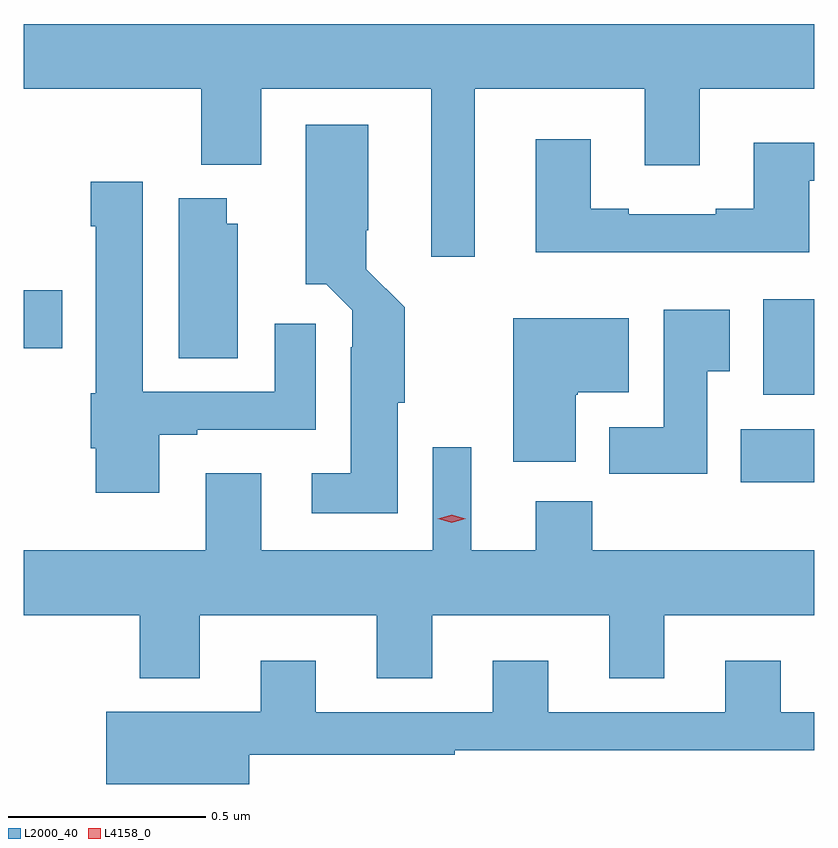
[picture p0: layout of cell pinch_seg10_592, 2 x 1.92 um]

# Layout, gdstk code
import gdstk
lib = gdstk.Library(unit=1e-6, precision=1e-09)
def R(c, l, rs):  # rectangles x0, y0, x1, y1
    for r in rs: c.add(gdstk.rectangle(r[:2], r[2:], *l))
def P(c, l, *ps):  # polygons
    for p in ps: c.add(gdstk.Polygon(p, *l))
L2000_40 = (2000, 40)
L4158_0 = (4158, 0)

pinch_seg10_592 = lib.new_cell('pinch_seg10_592')
R(pinch_seg10_592, L2000_40, [(339.722,1259.36,339.908,1259.494), (339.779,1259.582,339.908,1259.824), (337.908,1259.699,338.005,1259.846)])
P(pinch_seg10_592, L2000_40, [(339.049,1260.356),(339.479,1260.356),(339.479,1260.162),(339.619,1260.162),(339.619,1260.356),(339.908,1260.356),(339.908,1260.52),(337.908,1260.52),(337.908,1260.356),(338.357,1260.356),(338.357,1260.164),(338.509,1260.164),(338.509,1260.356),(338.939,1260.356),(338.939,1259.931),(339.049,1259.931)],
  [(338.854,1259.562),(338.872,1259.562),(338.872,1259.803),(338.775,1259.9),(338.775,1259.998),(338.779,1259.998),(338.779,1260.265),(338.621,1260.265),(338.621,1259.862),(338.673,1259.862),(338.739,1259.796),(338.739,1259.702),(338.735,1259.702),(338.735,1259.383),(338.637,1259.383),(338.637,1259.282),(338.854,1259.282)],
  [(339.895,1260.123),(339.908,1260.123),(339.908,1260.22),(339.755,1260.22),(339.755,1260.052),(339.659,1260.052),(339.659,1260.039),(339.439,1260.039),(339.439,1260.052),(339.343,1260.052),(339.343,1260.229),(339.203,1260.229),(339.203,1259.942),(339.895,1259.942)],
  [(338.251,1259.481),(338.347,1259.481),(338.347,1259.493),(338.647,1259.493),(338.647,1259.761),(338.543,1259.761),(338.543,1259.589),(338.209,1259.589),(338.209,1260.121),(338.078,1260.121),(338.078,1260.008),(338.09,1260.008),(338.09,1259.586),(338.078,1259.586),(338.078,1259.446),(338.09,1259.446),(338.09,1259.334),(338.251,1259.334)],
  [(338.449,1260.015),(338.422,1260.015),(338.422,1260.079),(338.3,1260.079),(338.3,1259.674),(338.449,1259.674)],
  [(339.637,1259.641),(339.694,1259.641),(339.694,1259.797),(339.527,1259.797),(339.527,1259.5),(339.389,1259.5),(339.389,1259.382),(339.637,1259.382)],
  [(339.304,1259.582),(339.31,1259.582),(339.31,1259.588),(339.439,1259.588),(339.439,1259.776),(339.146,1259.776),(339.146,1259.412),(339.304,1259.412)],
  [(338.941,1259.024),(339.389,1259.024),(339.389,1258.864),(339.529,1258.864),(339.529,1259.024),(339.908,1259.024),(339.908,1259.188),(339.347,1259.188),(339.347,1259.312),(339.203,1259.312),(339.203,1259.188),(339.04,1259.188),(339.04,1259.449),(338.943,1259.449),(338.943,1259.188),(338.509,1259.188),(338.509,1259.383),(338.369,1259.383),(338.369,1259.188),(337.908,1259.188),(337.908,1259.024),(338.201,1259.024),(338.201,1258.865),(338.353,1258.865),(338.353,1259.024),(338.801,1259.024),(338.801,1258.864),(338.941,1258.864)],
  [(338.479,1258.671),(338.999,1258.671),(338.999,1258.683),(339.908,1258.683),(339.908,1258.779),(339.823,1258.779),(339.823,1258.909),(339.683,1258.909),(339.683,1258.779),(339.235,1258.779),(339.235,1258.909),(339.095,1258.909),(339.095,1258.779),(338.647,1258.779),(338.647,1258.909),(338.507,1258.909),(338.507,1258.78),(338.117,1258.78),(338.117,1258.597),(338.479,1258.597)])
P(pinch_seg10_592, L4158_0, [(338.991,1259.258),(338.955,1259.268),(338.955,1259.268),(338.955,1259.268),(338.991,1259.278),(339.026,1259.268),(339.026,1259.268),(339.026,1259.268)])

lib.write_gds('pinch_seg10_592.gds')
